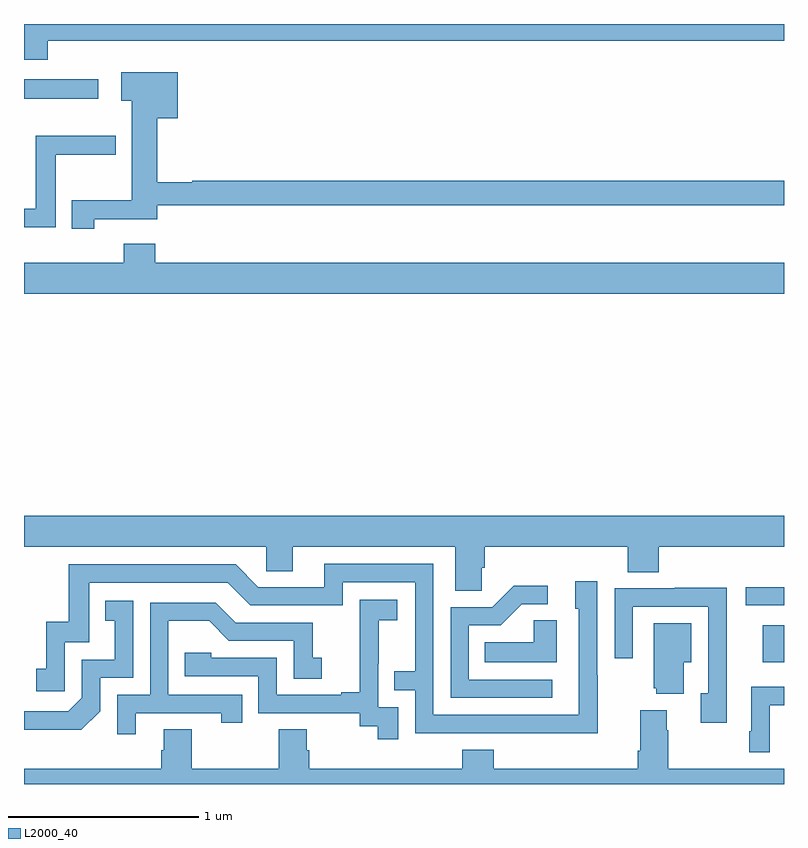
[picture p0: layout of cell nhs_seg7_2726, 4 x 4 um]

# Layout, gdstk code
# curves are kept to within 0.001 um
import gdstk
lib = gdstk.Library(unit=1e-6, precision=1e-09)
def R(c, l, rs):  # rectangles x0, y0, x1, y1
    for r in rs: c.add(gdstk.rectangle(r[:2], r[2:], *l))
def P(c, l, *ps):  # polygons
    for p in ps: c.add(gdstk.Polygon(p, *l))
L2000_40 = (2000, 40)

nhs_seg7_2726 = lib.new_cell('nhs_seg7_2726')
R(nhs_seg7_2726, L2000_40, [(290.888,1034.642,291,1034.836), (290.799,1034.94,291,1035.036), (287,1037.606,287.392,1037.71)])
P(nhs_seg7_2726, L2000_40, [(291,1038),(287,1038),(287,1037.813),(287.126,1037.813),(287.126,1037.912),(291,1037.912)],
  [(287.37,1036.973),(287.702,1036.973),(287.702,1037.046),(291,1037.046),(291,1037.174),(287.885,1037.174),(287.885,1037.167),(287.702,1037.167),(287.702,1037.504),(287.809,1037.504),(287.809,1037.746),(287.511,1037.746),(287.511,1037.597),(287.567,1037.597),(287.567,1037.073),(287.252,1037.073),(287.252,1036.923),(287.37,1036.923)],
  [(287.167,1037.311),(287.482,1037.311),(287.482,1037.411),(287.063,1037.411),(287.063,1037.028),(287,1037.028),(287,1036.93),(287.167,1036.93)],
  [(291,1036.744),(287.69,1036.744),(287.69,1036.843),(287.525,1036.843),(287.525,1036.744),(287,1036.744),(287,1036.58),(291,1036.58)],
  [(289.41,1035.139),(289.424,1035.139),(289.424,1035.248),(290.177,1035.248),(290.177,1035.115),(290.342,1035.115),(290.342,1035.248),(291,1035.248),(291,1035.412),(287,1035.412),(287,1035.248),(288.276,1035.248),(288.276,1035.121),(288.415,1035.121),(288.415,1035.248),(289.271,1035.248),(289.271,1035.016),(289.41,1035.016)],
  [(290.019,1034.573),(290.016,1034.573),(290.016,1035.067),(289.901,1035.067),(289.901,1034.922),(289.92,1034.922),(289.92,1034.364),(289.155,1034.364),(289.155,1035.159),(288.581,1035.159),(288.581,1035.036),(288.234,1035.036),(288.114,1035.156),(287.235,1035.156),(287.235,1034.853),(287.117,1034.853),(287.117,1034.607),(287.064,1034.607),(287.064,1034.487),(287.214,1034.487),(287.214,1034.745),(287.343,1034.745),(287.343,1035.06),(288.072,1035.06),(288.192,1034.94),(288.678,1034.94),(288.678,1035.063),(289.059,1035.063),(289.059,1034.594),(288.949,1034.594),(288.949,1034.493),(289.059,1034.493),(289.059,1034.268),(290.019,1034.267)],
  [(289.78,1034.55),(289.341,1034.55),(289.341,1034.835),(289.51,1034.835),(289.621,1034.946),(289.756,1034.946),(289.756,1035.044),(289.577,1035.044),(289.464,1034.931),(289.245,1034.931),(289.245,1034.454),(289.78,1034.454)],
  [(290.699,1035.032),(290.425,1035.032),(290.425,1035.03),(290.109,1035.03),(290.109,1034.661),(290.205,1034.661),(290.205,1034.934),(290.601,1034.934),(290.601,1034.478),(290.561,1034.478),(290.561,1034.322),(290.699,1034.322)],
  [(288.969,1034.403),(288.864,1034.403),(288.864,1034.632),(288.866,1034.632),(288.866,1034.861),(288.964,1034.861),(288.964,1034.971),(288.766,1034.971),(288.766,1034.765),(288.767,1034.765),(288.767,1034.482),(288.671,1034.482),(288.671,1034.469),(288.33,1034.469),(288.33,1034.664),(287.985,1034.664),(287.985,1034.691),(287.845,1034.691),(287.845,1034.568),(288.234,1034.568),(288.234,1034.373),(288.768,1034.373),(288.768,1034.305),(288.861,1034.305),(288.861,1034.235),(288.969,1034.235)],
  [(287.4,1034.382),(287.4,1034.559),(287.574,1034.559),(287.574,1034.965),(287.428,1034.965),(287.428,1034.859),(287.477,1034.859),(287.477,1034.655),(287.304,1034.655),(287.304,1034.454),(287.232,1034.382),(287,1034.382),(287,1034.285),(287.302,1034.285)],
  [(287.587,1034.373),(288.038,1034.373),(288.038,1034.322),(288.149,1034.322),(288.149,1034.469),(287.76,1034.469),(287.76,1034.858),(287.974,1034.858),(288.078,1034.754),(288.42,1034.754),(288.42,1034.555),(288.568,1034.555),(288.568,1034.665),(288.519,1034.665),(288.519,1034.85),(288.115,1034.85),(288.01,1034.955),(287.664,1034.955),(287.664,1034.469),(287.49,1034.469),(287.49,1034.262),(287.587,1034.262)],
  [(289.804,1034.861),(289.683,1034.861),(289.683,1034.746),(289.426,1034.746),(289.426,1034.642),(289.804,1034.642)],
  [(290.473,1034.642),(290.512,1034.642),(290.512,1034.845),(290.315,1034.845),(290.315,1034.505),(290.327,1034.505),(290.327,1034.474),(290.473,1034.474)],
  [(290.926,1034.415),(291,1034.415),(291,1034.512),(290.828,1034.512),(290.828,1034.278),(290.817,1034.278),(290.817,1034.166),(290.926,1034.166)],
  [(291,1034.08),(290.391,1034.08),(290.391,1034.282),(290.383,1034.282),(290.383,1034.389),(290.243,1034.389),(290.243,1034.176),(290.231,1034.176),(290.231,1034.08),(289.472,1034.08),(289.472,1034.179),(289.307,1034.179),(289.307,1034.08),(288.5,1034.08),(288.5,1034.178),(288.487,1034.178),(288.487,1034.288),(288.34,1034.288),(288.34,1034.08),(287.883,1034.08),(287.883,1034.288),(287.735,1034.288),(287.735,1034.178),(287.723,1034.178),(287.723,1034.08),(287,1034.08),(287,1034),(291,1034)])

lib.write_gds('nhs_seg7_2726.gds')
